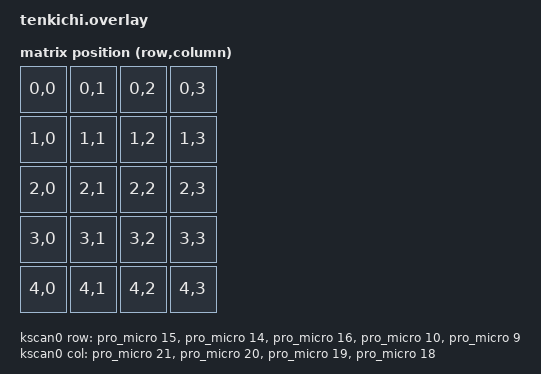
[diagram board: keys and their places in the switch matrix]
#include <dt-bindings/zmk/matrix_transform.h>
// numpad.overlay
/ {
    chosen {
        zmk,kscan = &kscan0;
        zmk,matrix_transform = &default_transform;
    };

    kscan0: kscan {
        compatible = "zmk,kscan-gpio-matrix";
        diode-direction = "col2row";
		
// (Arduino labels) Will be using 1 as CS, 2 MOSI, 3 SCK for screen - default adapter for nice!view.

        col-gpios
            = <&pro_micro 21 GPIO_ACTIVE_HIGH>
            , <&pro_micro 20  GPIO_ACTIVE_HIGH>
            , <&pro_micro 19 GPIO_ACTIVE_HIGH>
            , <&pro_micro 18  GPIO_ACTIVE_HIGH>
            ;

        row-gpios
            = <&pro_micro 15 (GPIO_ACTIVE_HIGH | GPIO_PULL_DOWN)>
            , <&pro_micro 14  (GPIO_ACTIVE_HIGH | GPIO_PULL_DOWN)>
            , <&pro_micro 16  (GPIO_ACTIVE_HIGH | GPIO_PULL_DOWN)>
            , <&pro_micro 10 (GPIO_ACTIVE_HIGH | GPIO_PULL_DOWN)>
            , <&pro_micro 9  (GPIO_ACTIVE_HIGH | GPIO_PULL_DOWN)>
            
            ;
    };

    default_transform: matrix_transform {
        compatible = "zmk,matrix-transform";
        rows = <5>;
        columns = <4>;
        map = <
        RC(0,0) RC(0,1) RC(0,2) RC(0,3)
		RC(1,0) RC(1,1) RC(1,2) RC(1,3)
		RC(2,0) RC(2,1) RC(2,2) RC(2,3)
		RC(3,0) RC(3,1) RC(3,2) RC(3,3)
		RC(4,0) RC(4,1) RC(4,2) RC(4,3)
        >;
    };
};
